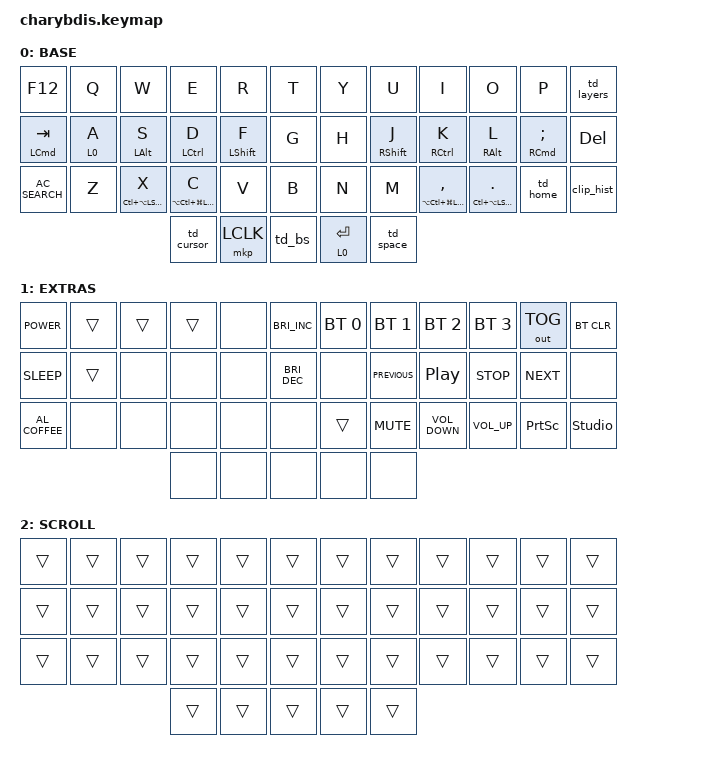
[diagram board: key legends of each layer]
#include <dt-bindings/zmk/mouse.h>
#include <behaviors/mouse_keys.dtsi>
#include <dt-bindings/zmk/bt.h>
#include <dt-bindings/zmk/keys.h>
#include <dt-bindings/zmk/outputs.h>
#include <dt-bindings/zmk/pointing.h>

/ {
    /* input config for mouse move mode */

    trackball_listener {
        compatible = "zmk,input-behavior-listener";
        device = <&vtrackball>;
        layers = <0 1>;
        evt-type = <INPUT_EV_REL>;
        x-input-code = <INPUT_REL_X>;
        y-input-code = <INPUT_REL_Y>;
        scale-multiplier = <4>;
        scale-divisor = <5>;

        // bindings = <&ib_toggle_layer 7>;
    };

    /* input config for snipe mode */

    trackball_snipe_listener {
        compatible = "zmk,input-behavior-listener";
        device = <&vtrackball>;
        layers = <2>;
        evt-type = <INPUT_EV_REL>;
        x-input-code = <INPUT_REL_X>;
        y-input-code = <INPUT_REL_Y>;
        scale-multiplier = <1>;
        scale-divisor = <6>;
    };

    /* input config for mouse scroll mode */

    trackball_scroll_listener {
        compatible = "zmk,input-behavior-listener";
        device = <&vtrackball>;
        layers = <2>;
        evt-type = <INPUT_EV_REL>;
        x-input-code = <INPUT_REL_MISC>;
        y-input-code = <INPUT_REL_WHEEL>;
        y-invert;
        bindings = <&ib_wheel_scaler 1 14>;
    };

    /* define a resolution down scaler only for INPUT_REL_WHEEL */

    ib_wheel_scaler: ib_wheel_scaler {
        compatible = "zmk,input-behavior-scaler";
        #binding-cells = <2>;
        evt-type = <INPUT_EV_REL>;
        input-code = <INPUT_REL_WHEEL>;
    };

    /* adjust cooldown waiting period for mouse key layer after activated */

    ib_toggle_layer: ib_toggle_layer {
        compatible = "zmk,input-behavior-tog-layer";
        #binding-cells = <1>;
        time-to-live-ms = <750>;
    };

    // ╭──────┬──────┬──────┬──────┬──────┬──────╮  ╭──────┬──────┬──────┬──────┬──────┬──────╮
    //    00     01     02     03    04      05        06     07     08     09     10     11
    // ├──────┼──────┼──────┼──────┼──────┼──────┤  ├──────┼──────┼──────┼──────┼──────┼──────┤
    //    12     13     14     15    16      17        18     19     20     21     22     23
    // ├──────┼──────┼──────┼──────┼──────┼──────┤  ├──────┼──────┼──────┼──────┼──────┼──────┤
    //    24     25     26     27    28      29        30     31     32     33     34     35
    // ╰──────┴──────┴──────┼──────┼──────┼──────┤  ├──────┼──────┼──────┴──────┴──────┴──────╯
    //                         36     37     38        39     40
    //                      ╰──────┴──────┴──────╯  ╰──────┴──────╯


    macros {
        new_macro: new_macro {
            compatible = "zmk,behavior-macro";
            #binding-cells = <0>;
            bindings = <&kp A>;
            label = "NEW_MACRO";
        };
    };

    keymap {
        compatible = "zmk,keymap";

        BASE {
            bindings = <
&kp F12            &kp Q    &kp W                          &kp E                              &kp R                  &kp T     &kp Y         &kp U                    &kp I                                   &kp O                                &kp P                     &td_layers
&hm_left LCMD TAB  &lt 0 A  &hm_left LEFT_ALT S            &hm_left LCTRL D                   &hm_left LEFT_SHIFT F  &kp G     &kp H         &hm_right RIGHT_SHIFT J  &hm_right RCTRL K                       &hm_right RIGHT_ALT L                &hm_right RCMD SEMICOLON  &kp DEL
&kp C_AC_SEARCH    &kp Z    &hm_left LC(LA(LEFT_SHIFT)) X  &hm_left LA(LC(LG(LEFT_SHIFT))) C  &kp V                  &kp B     &kp N         &kp M                    &hm_right LA(LC(LG(LEFT_SHIFT))) COMMA  &hm_right LC(LA(LEFT_SHIFT)) PERIOD  &td_home                  &clip_hist
                                                           &td_cursor                         &mkp LCLK              &td_bs    &lt 0 RETURN  &td_space
            >;
        };

        EXTRAS {
            bindings = <
&kp C_POWER      &trans  &trans  &trans  &none  &kp C_BRIGHTNESS_INC    &bt BT_SEL 0  &bt BT_SEL 1    &bt BT_SEL 2       &bt BT_SEL 3     &out OUT_TOG     &bt BT_CLR
&kp C_SLEEP      &trans  &none   &none   &none  &kp C_BRIGHTNESS_DEC    &none         &kp C_PREVIOUS  &kp C_PLAY_PAUSE   &kp C_STOP       &kp C_NEXT       &none
&kp C_AL_COFFEE  &none   &none   &none   &none  &none                   &trans        &kp K_MUTE      &kp C_VOLUME_DOWN  &kp C_VOLUME_UP  &kp PRINTSCREEN  &studio_unlock
                                 &none   &none  &none                   &none         &none
            >;
        };

        SCROLL {
            bindings = <
&trans  &trans  &trans  &trans  &trans  &trans    &trans  &trans  &trans  &trans  &trans  &trans
&trans  &trans  &trans  &trans  &trans  &trans    &trans  &trans  &trans  &trans  &trans  &trans
&trans  &trans  &trans  &trans  &trans  &trans    &trans  &trans  &trans  &trans  &trans  &trans
                        &trans  &trans  &trans    &trans  &trans
            >;
        };
    };
};
